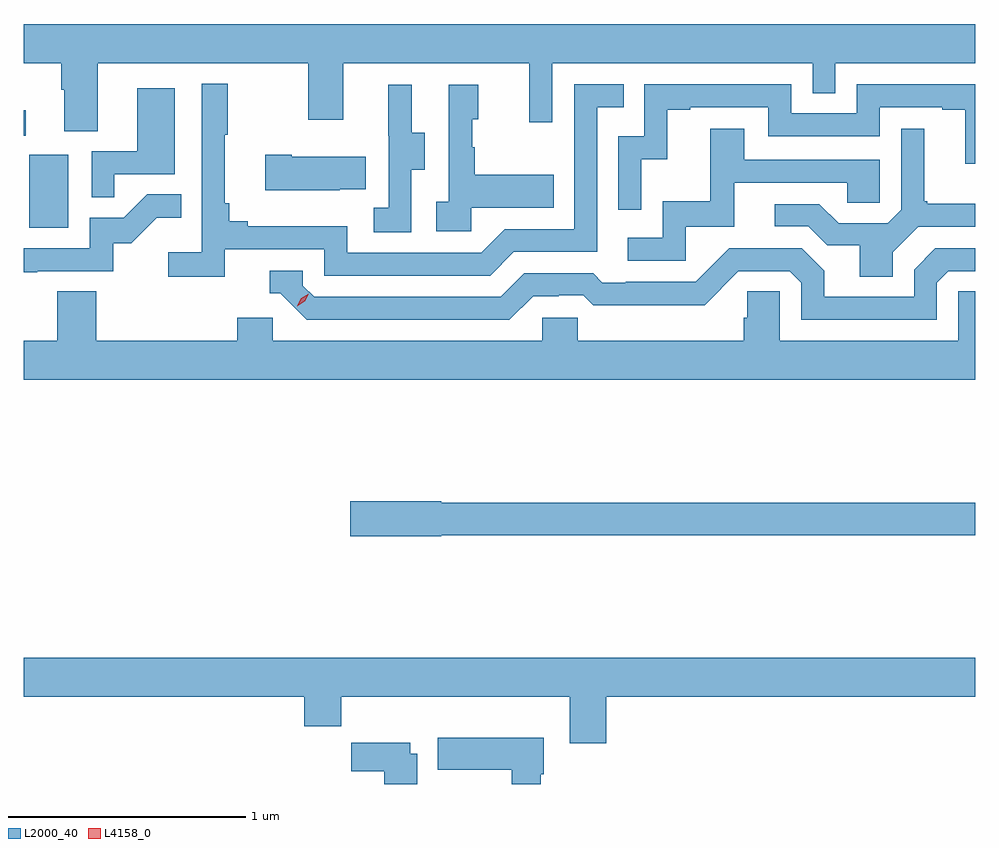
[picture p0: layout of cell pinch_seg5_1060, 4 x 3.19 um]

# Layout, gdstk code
import gdstk
lib = gdstk.Library(unit=1e-6, precision=1e-09)
def R(c, l, rs):  # rectangles x0, y0, x1, y1
    for r in rs: c.add(gdstk.rectangle(r[:2], r[2:], *l))
def P(c, l, *ps):  # polygons
    for p in ps: c.add(gdstk.Polygon(p, *l))
L2000_40 = (2000, 40)
L4158_0 = (4158, 0)

pinch_seg5_1060 = lib.new_cell('pinch_seg5_1060')
R(pinch_seg5_1060, L2000_40, [(862.622,858.732,862.786,859.039), (862.598,859.119,862.606,859.225)])
P(pinch_seg5_1060, L2000_40, [(862.909,859.424),(863.794,859.424),(863.794,859.185),(863.941,859.185),(863.941,859.424),(864.722,859.424),(864.722,859.176),(864.819,859.176),(864.819,859.424),(865.914,859.424),(865.914,859.297),(866.01,859.297),(866.01,859.424),(866.598,859.424),(866.598,859.588),(862.598,859.588),(862.598,859.424),(862.757,859.424),(862.757,859.312),(862.769,859.312),(862.769,859.138),(862.909,859.138)],
  [(863.444,858.642),(863.862,858.642),(863.862,858.531),(864.559,858.531),(864.658,858.63),(865.008,858.63),(865.008,859.239),(865.121,859.239),(865.121,859.335),(864.912,859.335),(864.912,858.726),(864.621,858.726),(864.522,858.627),(863.958,858.627),(863.958,858.739),(863.539,858.739),(863.539,858.758),(863.462,858.758),(863.462,858.835),(863.443,858.835),(863.443,859.123),(863.455,859.123),(863.455,859.336),(863.346,859.336),(863.346,858.628),(863.205,858.628),(863.205,858.526),(863.444,858.526)],
  [(865.194,859.019),(865.304,859.019),(865.304,859.227),(865.399,859.227),(865.399,859.239),(865.728,859.239),(865.728,859.116),(866.196,859.116),(866.196,859.239),(866.459,859.239),(866.459,859.227),(866.555,859.227),(866.555,859.001),(866.598,859.001),(866.598,859.335),(866.1,859.335),(866.1,859.212),(865.824,859.212),(865.824,859.335),(865.206,859.335),(865.206,859.116),(865.098,859.116),(865.098,858.807),(865.194,858.807)],
  [(864.228,858.976),(864.283,858.976),(864.283,859.131),(864.229,859.131),(864.229,859.333),(864.131,859.333),(864.131,859.119),(864.132,859.119),(864.132,858.815),(864.069,858.815),(864.069,858.712),(864.228,858.712)],
  [(864.48,858.815),(864.827,858.815),(864.827,858.955),(864.493,858.955),(864.493,859.07),(864.483,859.07),(864.483,859.188),(864.508,859.188),(864.508,859.333),(864.384,859.333),(864.384,858.842),(864.333,858.842),(864.333,858.717),(864.48,858.717)],
  [(862.979,858.957),(863.233,858.957),(863.233,859.318),(863.075,859.318),(863.075,859.053),(862.884,859.053),(862.884,858.859),(862.979,858.859)],
  [(865.38,858.735),(865.585,858.735),(865.585,858.921),(866.059,858.921),(866.059,858.837),(866.196,858.837),(866.196,859.017),(865.627,859.017),(865.627,859.147),(865.483,859.147),(865.483,858.844),(865.284,858.844),(865.284,858.69),(865.137,858.69),(865.137,858.594),(865.38,858.594)],
  [(866.251,858.628),(866.358,858.735),(866.598,858.735),(866.598,858.832),(866.395,858.832),(866.395,858.844),(866.383,858.844),(866.383,859.147),(866.286,859.147),(866.286,858.807),(866.229,858.75),(866.023,858.75),(865.942,858.831),(865.755,858.831),(865.755,858.738),(865.896,858.738),(865.976,858.658),(866.111,858.658),(866.111,858.526),(866.251,858.526)],
  [(863.927,858.893),(864.035,858.893),(864.035,859.03),(863.725,859.03),(863.725,859.038),(863.613,859.038),(863.613,858.89),(863.927,858.89)],
  [(862.655,858.549),(862.974,858.549),(862.974,858.666),(863.05,858.666),(863.157,858.773),(863.261,858.773),(863.261,858.872),(863.117,858.872),(863.019,858.774),(862.875,858.774),(862.875,858.645),(862.598,858.645),(862.598,858.544),(862.655,858.544)],
  [(864.739,858.444),(864.846,858.444),(864.846,858.447),(864.949,858.447),(864.991,858.405),(865.224,858.405),(865.224,858.407),(865.46,858.407),(865.602,858.549),(865.818,858.549),(865.866,858.501),(865.866,858.345),(866.436,858.345),(866.436,858.501),(866.484,858.549),(866.598,858.549),(866.598,858.645),(866.43,858.645),(866.34,858.555),(866.34,858.441),(865.963,858.441),(865.963,858.551),(865.869,858.645),(865.563,858.645),(865.422,858.504),(865.129,858.504),(865.129,858.501),(865.03,858.501),(864.991,858.54),(864.702,858.54),(864.603,858.441),(863.82,858.441),(863.772,858.489),(863.772,858.552),(863.633,858.552),(863.633,858.456),(863.676,858.456),(863.787,858.345),(864.64,858.345)],
  [(866.598,858.464),(866.526,858.464),(866.526,858.256),(865.776,858.256),(865.776,858.464),(865.639,858.464),(865.639,858.354),(865.625,858.354),(865.625,858.256),(864.927,858.256),(864.927,858.354),(864.777,858.354),(864.777,858.256),(863.646,858.256),(863.646,858.354),(863.495,858.354),(863.495,858.256),(862.904,858.256),(862.904,858.464),(862.739,858.464),(862.739,858.256),(862.598,858.256),(862.598,858.092),(866.598,858.092)],
  [(864.354,857.44),(866.598,857.44),(866.598,857.576),(864.354,857.576),(864.354,857.582),(863.97,857.582),(863.97,857.435),(864.354,857.435)],
  [(865.046,856.76),(866.598,856.76),(866.598,856.924),(862.598,856.924),(862.598,856.76),(863.777,856.76),(863.777,856.636),(863.933,856.636),(863.933,856.76),(864.893,856.76),(864.893,856.566),(865.046,856.566)],
  [(864.772,856.434),(864.784,856.434),(864.784,856.588),(864.338,856.588),(864.338,856.454),(864.65,856.454),(864.65,856.394),(864.772,856.394)],
  [(864.253,856.522),(864.223,856.522),(864.223,856.567),(863.974,856.567),(863.974,856.448),(864.113,856.448),(864.113,856.394),(864.253,856.394)])
P(pinch_seg5_1060, L4158_0, [(863.749,858.402),(863.749,858.403),(863.765,858.435),(863.796,858.455),(863.796,858.455),(863.796,858.454),(863.78,858.422),(863.749,858.402)])

lib.write_gds('pinch_seg5_1060.gds')
